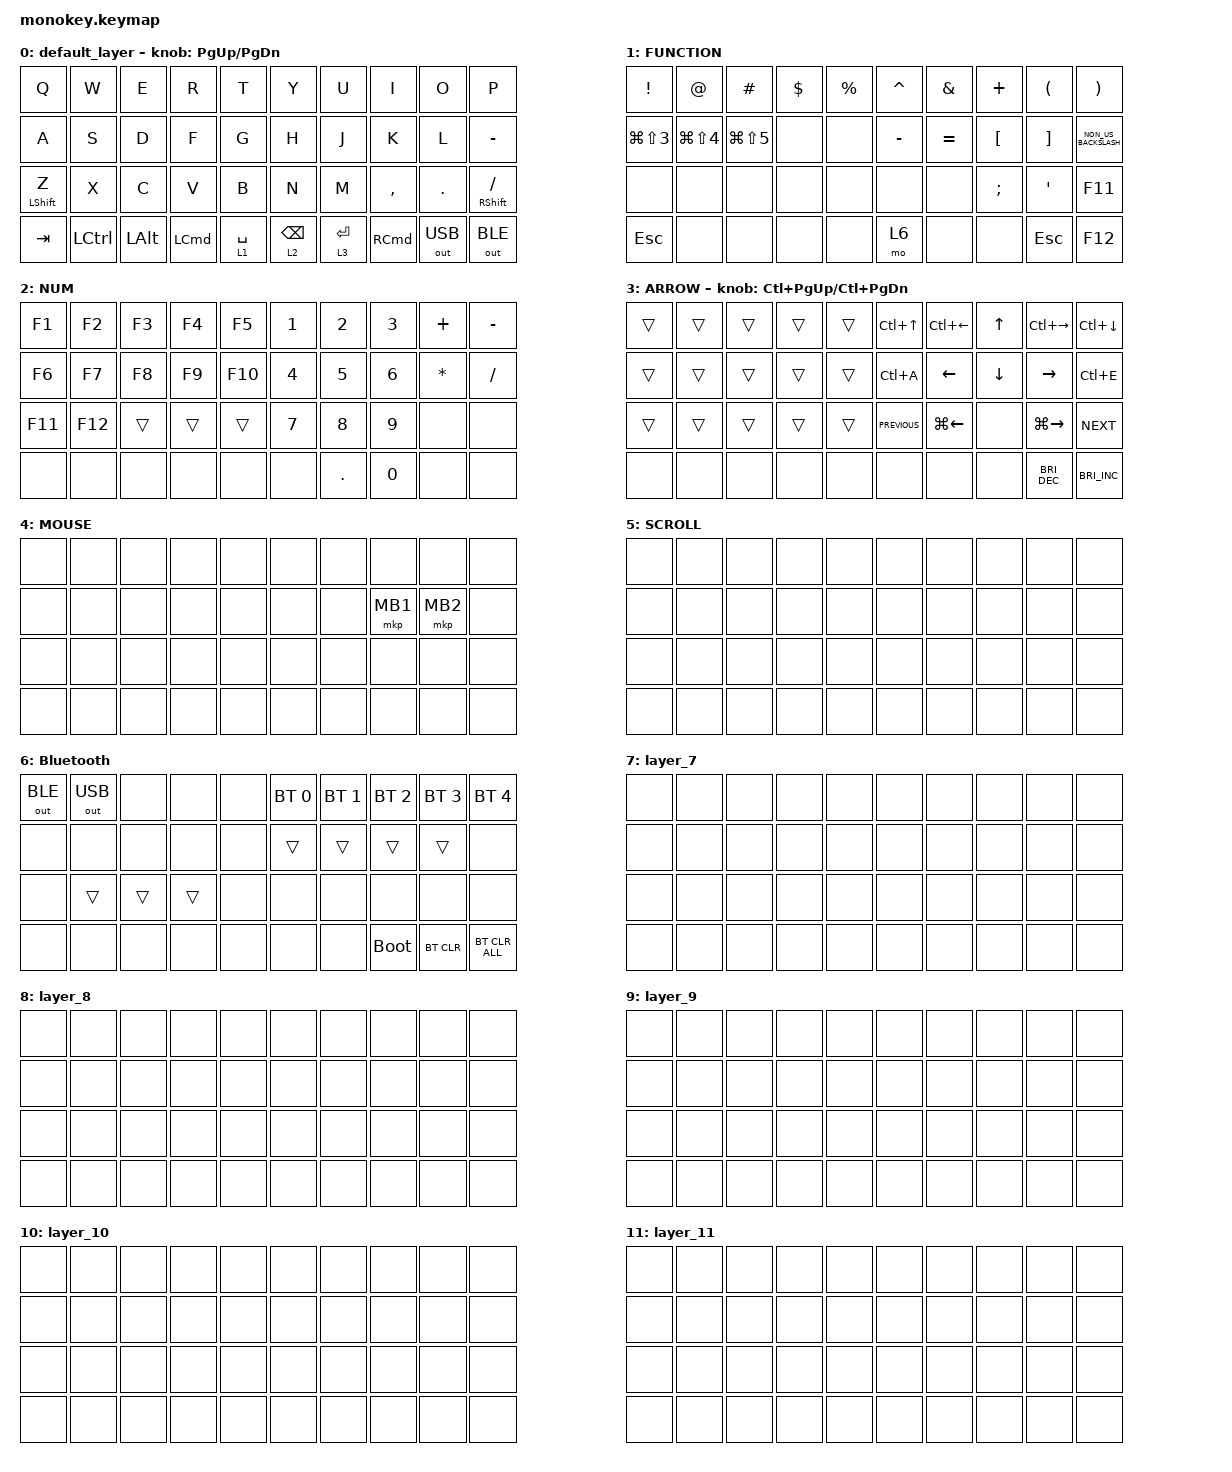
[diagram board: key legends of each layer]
#include <behaviors.dtsi>
#include <dt-bindings/zmk/bt.h>
#include <dt-bindings/zmk/keys.h>
#include <dt-bindings/zmk/pointing.h>
#include <dt-bindings/zmk/outputs.h>

&mt {
    flavor = "balanced";
    quick-tap-ms = <300>;
};

&lt { quick-tap-ms = <300>; };

/ {
    combos {
        compatible = "zmk,combos";

        manus {
            bindings = <&kp A>;
            key-positions = <8 9>;
            timeout-ms = <51>;
        };

        /* TEST: BLE force output via combo (works regardless of layer).
         * Q (pos 0) + P (pos 9) — both hands, far apart, never accidentally
         * triggered by typing. Press both within 50ms.
         */
        ble_force {
            bindings = <&out OUT_BLE>;
            key-positions = <0 9>;
            timeout-ms = <300>;
        };

        /* USB force (revert) — TAB (pos 30) + Vol+ (pos 39), bottom corners */
        usb_force {
            bindings = <&out OUT_USB>;
            key-positions = <30 39>;
            timeout-ms = <300>;
        };

    };

    keymap {
        compatible = "zmk,keymap";

        default_layer {
            bindings = <
&kp Q  &kp W  &kp E  &kp R  &kp T    &kp Y  &kp U  &kp I  &kp O  &kp P
&kp A  &kp S  &kp D  &kp F  &kp G    &kp H  &kp J  &kp K  &kp L  &kp MINUS
&mt LEFT_SHIFT Z  &kp X  &kp C  &kp V  &kp B    &kp N  &kp M  &kp COMMA  &kp PERIOD  &mt RIGHT_SHIFT SLASH
&kp TAB  &kp LCTRL  &kp LALT  &kp LEFT_COMMAND  &lt 1 SPACE  &lt 2 BACKSPACE    &lt 3 ENTER  &kp RIGHT_COMMAND  &out OUT_USB  &out OUT_BLE
            >;

            sensor-bindings = <&inc_dec_kp PG_UP PAGE_DOWN>;
        };

        FUNCTION {
            bindings = <
&kp EXCLAMATION  &kp AT_SIGN  &kp HASH  &kp DOLLAR  &kp PERCENT    &kp CARET  &kp AMPERSAND  &kp PLUS  &kp LEFT_PARENTHESIS  &kp RIGHT_PARENTHESIS
&kp LG(LS(N3))  &kp LG(LS(N4))  &kp LG(LS(N5))  &none  &none    &kp MINUS  &kp EQUAL  &kp LEFT_BRACKET  &kp RIGHT_BRACKET  &kp NON_US_BACKSLASH
&none  &none  &none  &none  &none    &none  &none  &kp SEMICOLON  &kp SINGLE_QUOTE  &kp F11
&kp ESCAPE  &none  &none  &none  &none  &mo 6    &none  &none  &kp ESCAPE  &kp F12
            >;
        };

        NUM {
            bindings = <
&kp F1  &kp F2  &kp F3  &kp F4  &kp F5    &kp N1  &kp N2  &kp N3  &kp PLUS  &kp MINUS
&kp F6  &kp F7  &kp F8  &kp F9  &kp F10    &kp N4  &kp N5  &kp N6  &kp ASTERISK  &kp SLASH
&kp F11  &kp F12  &trans  &trans  &trans    &kp N7  &kp N8  &kp N9  &none  &none
&none  &none  &none  &none  &none  &none    &kp PERIOD  &kp N0  &none  &none
            >;
        };

        ARROW {
            bindings = <
&trans  &trans  &trans  &trans  &trans    &kp LC(UP_ARROW)  &kp LC(LEFT_ARROW)  &kp UP_ARROW  &kp LC(RIGHT_ARROW)  &kp LC(DOWN_ARROW)
&trans  &trans  &trans  &trans  &trans    &kp LC(A)  &kp LEFT_ARROW  &kp DOWN_ARROW  &kp RIGHT_ARROW  &kp LC(E)
&trans  &trans  &trans  &trans  &trans    &kp C_PREVIOUS  &kp LG(LEFT_ARROW)  &none  &kp LG(RIGHT_ARROW)  &kp C_NEXT
&none  &none  &none  &none  &none  &none    &none  &none  &kp C_BRI_DEC  &kp C_BRI_INC
            >;

            sensor-bindings = <&inc_dec_kp LC(PAGE_UP) LC(PAGE_DOWN)>;
        };

        MOUSE {
            bindings = <
&none  &none  &none  &none  &none    &none  &none  &none  &none  &none
&none  &none  &none  &none  &none    &none  &none  &mkp MB1  &mkp MB2  &none
&none  &none  &none  &none  &none    &none  &none  &none  &none  &none
&none  &none  &none  &none  &none  &none    &none  &none  &none  &none
            >;
        };

        SCROLL {
            bindings = <
&none  &none  &none  &none  &none    &none  &none  &none  &none  &none
&none  &none  &none  &none  &none    &none  &none  &none  &none  &none
&none  &none  &none  &none  &none    &none  &none  &none  &none  &none
&none  &none  &none  &none  &none  &none    &none  &none  &none  &none
            >;
        };

        Bluetooth {
            bindings = <
&out OUT_BLE  &out OUT_USB  &none  &none  &none    &bt BT_SEL 0  &bt BT_SEL 1  &bt BT_SEL 2  &bt BT_SEL 3  &bt BT_SEL 4
&none  &none  &none  &none  &none    &trans  &trans  &trans  &trans  &none
&none  &trans  &trans  &trans  &none    &none  &none  &none  &none  &none
&none  &none  &none  &none  &none  &none    &none  &bootloader  &bt BT_CLR  &bt BT_CLR_ALL
            >;
        };

        layer_7 {
            bindings = <
&none  &none  &none  &none  &none    &none  &none  &none  &none  &none
&none  &none  &none  &none  &none    &none  &none  &none  &none  &none
&none  &none  &none  &none  &none    &none  &none  &none  &none  &none
&none  &none  &none  &none  &none  &none    &none  &none  &none  &none
            >;
        };

        layer_8 {
            bindings = <
&none  &none  &none  &none  &none    &none  &none  &none  &none  &none
&none  &none  &none  &none  &none    &none  &none  &none  &none  &none
&none  &none  &none  &none  &none    &none  &none  &none  &none  &none
&none  &none  &none  &none  &none  &none    &none  &none  &none  &none
            >;
        };

        layer_9 {
            bindings = <
&none  &none  &none  &none  &none    &none  &none  &none  &none  &none
&none  &none  &none  &none  &none    &none  &none  &none  &none  &none
&none  &none  &none  &none  &none    &none  &none  &none  &none  &none
&none  &none  &none  &none  &none  &none    &none  &none  &none  &none
            >;
        };

        layer_10 {
            bindings = <
&none  &none  &none  &none  &none    &none  &none  &none  &none  &none
&none  &none  &none  &none  &none    &none  &none  &none  &none  &none
&none  &none  &none  &none  &none    &none  &none  &none  &none  &none
&none  &none  &none  &none  &none  &none    &none  &none  &none  &none
            >;
        };

        layer_11 {
            bindings = <
&none  &none  &none  &none  &none    &none  &none  &none  &none  &none
&none  &none  &none  &none  &none    &none  &none  &none  &none  &none
&none  &none  &none  &none  &none    &none  &none  &none  &none  &none
&none  &none  &none  &none  &none  &none    &none  &none  &none  &none
            >;
        };

    };
};
